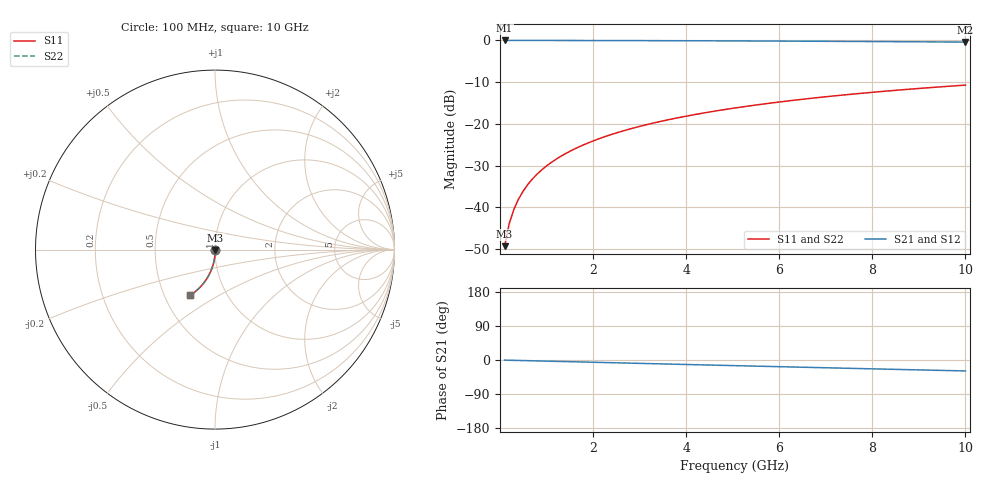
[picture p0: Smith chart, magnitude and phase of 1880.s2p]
# Hz S RI R 50.00
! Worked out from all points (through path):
!   100 points, 100 MHz to 10 GHz, reference 50 ohm
!   highest |S21| = -0.01 dB at 100 MHz (marker M1); lowest = -0.4 dB at 10 GHz (marker M2)
!   group delay of S21, straight-line fit = 8.04 ps
!   lowest |S11| = -49.3 dB at 100 MHz (marker M3), VSWR 1.01, Z = 50.1 - j0.314 ohm
!   |S11| at or under -10 dB: start of sweep to end of sweep
!   |S22| runs from -49.3 to -10.7 dB; largest |S21 - S12| = 0
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1e8  0.00137 -0.00313  0.9986 -0.00518  0.9986 -0.00518  0.00137 -0.00313
2e8  0.00133 -0.00627  0.9985 -0.0104  0.9985 -0.0104  0.00133 -0.00627
3e8  0.00125 -0.0094  0.9984 -0.0155  0.9984 -0.0155  0.00125 -0.0094
4e8  0.00114 -0.0125  0.9983 -0.0207  0.9983 -0.0207  0.00114 -0.0125
5e8  0.000996 -0.0157  0.9981 -0.0259  0.9981 -0.0259  0.000996 -0.0157
6e8  0.000818 -0.0188  0.9979 -0.031  0.9979 -0.031  0.000818 -0.0188
7e8  0.000608 -0.0219  0.9976 -0.0362  0.9976 -0.0362  0.000608 -0.0219
8e8  0.000364 -0.025  0.9974 -0.0414  0.9974 -0.0414  0.000364 -0.025
9e8  8.87e-05 -0.0281  0.997 -0.0465  0.997 -0.0465  8.87e-05 -0.0281
1.1e9  -0.00056 -0.0344  0.9963 -0.0569  0.9963 -0.0569  -0.00056 -0.0344
1.4e9  -0.00177 -0.0437  0.9949 -0.0723  0.9949 -0.0723  -0.00177 -0.0437
1.8e9  -0.00384 -0.056  0.9926 -0.0928  0.9926 -0.0928  -0.00384 -0.056
2.1e9  -0.00572 -0.0652  0.9904 -0.1081  0.9904 -0.1081  -0.00572 -0.0652
2.5e9  -0.00867 -0.0773  0.9871 -0.1284  0.9871 -0.1284  -0.00867 -0.0773
2.9e9  -0.0121 -0.0893  0.9832 -0.1486  0.9832 -0.1486  -0.0121 -0.0893
3.4e9  -0.0171 -0.104  0.9775 -0.1735  0.9775 -0.1735  -0.0171 -0.104
4.2e9  -0.0265 -0.1268  0.9667 -0.2128  0.9667 -0.2128  -0.0265 -0.1268
5.1e9  -0.0393 -0.1514  0.9522 -0.2558  0.9522 -0.2558  -0.0393 -0.1514
5.9e9  -0.0524 -0.172  0.9372 -0.2928  0.9372 -0.2928  -0.0524 -0.172
6.7e9  -0.0669 -0.1913  0.9204 -0.3286  0.9204 -0.3286  -0.0669 -0.1913
8.4e9  -0.1021 -0.2277  0.8796 -0.4  0.8796 -0.4  -0.1021 -0.2277
1e10  -0.1395 -0.2556  0.8358 -0.461  0.8358 -0.461  -0.1395 -0.2556
